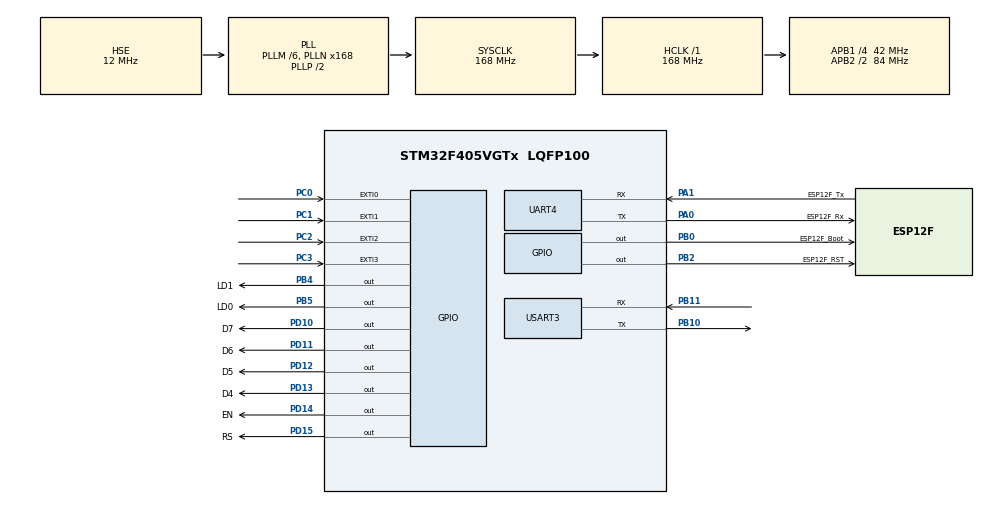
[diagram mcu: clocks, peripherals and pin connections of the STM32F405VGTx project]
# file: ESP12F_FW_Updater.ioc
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Dma.Request0=USART3_RX
Dma.Request1=UART4_TX
Dma.Request2=USART3_TX
Dma.Request3=UART4_RX
Dma.UART4_RX.3.Direction=DMA_PERIPH_TO_MEMORY
Dma.UART4_RX.3.FIFOMode=DMA_FIFOMODE_DISABLE
Dma.UART4_RX.3.Instance=DMA1_Stream2
Dma.UART4_RX.3.MemDataAlignment=DMA_MDATAALIGN_BYTE
Dma.UART4_RX.3.MemInc=DMA_MINC_ENABLE
Dma.UART4_RX.3.Mode=DMA_NORMAL
Dma.UART4_RX.3.PeriphDataAlignment=DMA_PDATAALIGN_BYTE
Dma.UART4_RX.3.PeriphInc=DMA_PINC_DISABLE
Dma.UART4_RX.3.Priority=DMA_PRIORITY_HIGH
Dma.UART4_TX.1.Direction=DMA_MEMORY_TO_PERIPH
Dma.UART4_TX.1.FIFOMode=DMA_FIFOMODE_DISABLE
Dma.UART4_TX.1.Instance=DMA1_Stream4
Dma.UART4_TX.1.MemDataAlignment=DMA_MDATAALIGN_BYTE
Dma.UART4_TX.1.MemInc=DMA_MINC_ENABLE
Dma.UART4_TX.1.Mode=DMA_NORMAL
Dma.UART4_TX.1.PeriphDataAlignment=DMA_PDATAALIGN_BYTE
Dma.UART4_TX.1.PeriphInc=DMA_PINC_DISABLE
Dma.UART4_TX.1.Priority=DMA_PRIORITY_HIGH
Dma.USART3_RX.0.Direction=DMA_PERIPH_TO_MEMORY
Dma.USART3_RX.0.FIFOMode=DMA_FIFOMODE_DISABLE
Dma.USART3_RX.0.Instance=DMA1_Stream1
Dma.USART3_RX.0.MemDataAlignment=DMA_MDATAALIGN_BYTE
Dma.USART3_RX.0.MemInc=DMA_MINC_ENABLE
Dma.USART3_RX.0.Mode=DMA_NORMAL
Dma.USART3_RX.0.PeriphDataAlignment=DMA_PDATAALIGN_BYTE
Dma.USART3_RX.0.PeriphInc=DMA_PINC_DISABLE
Dma.USART3_RX.0.Priority=DMA_PRIORITY_VERY_HIGH
Dma.USART3_TX.2.Direction=DMA_MEMORY_TO_PERIPH
Dma.USART3_TX.2.FIFOMode=DMA_FIFOMODE_DISABLE
Dma.USART3_TX.2.Instance=DMA1_Stream3
Dma.USART3_TX.2.MemDataAlignment=DMA_MDATAALIGN_BYTE
Dma.USART3_TX.2.MemInc=DMA_MINC_ENABLE
Dma.USART3_TX.2.Mode=DMA_NORMAL
Dma.USART3_TX.2.PeriphDataAlignment=DMA_PDATAALIGN_BYTE
Dma.USART3_TX.2.PeriphInc=DMA_PINC_DISABLE
Dma.USART3_TX.2.Priority=DMA_PRIORITY_MEDIUM
Mcu.Family=STM32F4
Mcu.Name=STM32F405VGTx
Mcu.Package=LQFP100
NVIC.DMA1_Stream1_IRQn=true\:0\:0\:false\:false\:true\:false\:true\:true
NVIC.DMA1_Stream2_IRQn=true\:0\:0\:false\:false\:true\:false\:true\:true
NVIC.DMA1_Stream3_IRQn=true\:0\:0\:false\:false\:true\:false\:true\:true
NVIC.DMA1_Stream4_IRQn=true\:0\:0\:false\:false\:true\:false\:true\:true
NVIC.EXTI0_IRQn=true\:0\:0\:false\:true\:true\:1\:true\:true\:true
NVIC.EXTI1_IRQn=true\:0\:0\:false\:true\:true\:2\:true\:true\:true
NVIC.EXTI2_IRQn=true\:0\:0\:false\:true\:true\:3\:true\:true\:true
NVIC.EXTI3_IRQn=true\:0\:0\:false\:true\:true\:4\:true\:true\:true
NVIC.PriorityGroup=NVIC_PRIORITYGROUP_4
NVIC.UART4_IRQn=true\:0\:0\:false\:false\:true\:true\:true\:true
NVIC.USART3_IRQn=true\:0\:0\:false\:false\:true\:true\:true\:true
PA0-WKUP.GPIO_Label=ESP12F_Rx
PA0-WKUP.Mode=Asynchronous
PA0-WKUP.Signal=UART4_TX
PA1.GPIO_Label=ESP12F_Tx
PA1.Mode=Asynchronous
PA1.Signal=UART4_RX
PB0.GPIO_Label=ESP12F_Boot
PB0.PinState=GPIO_PIN_SET
PB0.Signal=GPIO_Output
PB10.Mode=Asynchronous
PB10.Signal=USART3_TX
PB11.Mode=Asynchronous
PB11.Signal=USART3_RX
PB2.GPIO_Label=ESP12F_RST
PB2.PinState=GPIO_PIN_SET
PB2.Signal=GPIO_Output
PB4.GPIO_Label=LD1
PB4.Signal=GPIO_Output
PB5.GPIO_Label=LD0
PB5.Signal=GPIO_Output
PC0.GPIO_ModeDefaultEXTI=GPIO_MODE_IT_FALLING
PC0.Signal=GPXTI0
PC1.GPIO_ModeDefaultEXTI=GPIO_MODE_IT_FALLING
PC1.Signal=GPXTI1
PC2.GPIO_ModeDefaultEXTI=GPIO_MODE_IT_FALLING
PC2.Signal=GPXTI2
PC3.Signal=GPXTI3
PD10.GPIO_Label=D7
PD10.Signal=GPIO_Output
PD11.GPIO_Label=D6
PD11.Signal=GPIO_Output
PD12.GPIO_Label=D5
PD12.Signal=GPIO_Output
PD13.GPIO_Label=D4
PD13.Signal=GPIO_Output
PD14.GPIO_Label=EN
PD14.Signal=GPIO_Output
PD15.GPIO_Label=RS
PD15.Signal=GPIO_Output
PH0-OSC_IN.Mode=HSE-External-Oscillator
PH0-OSC_IN.Signal=RCC_OSC_IN
PH1-OSC_OUT.Mode=HSE-External-Oscillator
PH1-OSC_OUT.Signal=RCC_OSC_OUT
ProjectManager.HeapSize=0x200
ProjectManager.StackSize=0x400
ProjectManager.TargetToolchain=STM32CubeIDE
RCC.48MHZClocksFreq_Value=48000000
RCC.AHBFreq_Value=168000000
RCC.APB1CLKDivider=RCC_HCLK_DIV4
RCC.APB1Freq_Value=42000000
RCC.APB1TimFreq_Value=84000000
RCC.APB2CLKDivider=RCC_HCLK_DIV2
RCC.APB2Freq_Value=84000000
RCC.APB2TimFreq_Value=168000000
RCC.CortexFreq_Value=168000000
RCC.HCLKFreq_Value=168000000
RCC.HSE_VALUE=12000000
RCC.HSI_VALUE=16000000
RCC.LSE_VALUE=32768
RCC.PLLM=6
RCC.PLLN=168
RCC.PLLQ=7
RCC.PLLSourceVirtual=RCC_PLLSOURCE_HSE
RCC.SYSCLKFreq_VALUE=168000000
RCC.SYSCLKSource=RCC_SYSCLKSOURCE_PLLCLK
RCC.VCOOutputFreq_Value=336000000
UART4.VirtualMode=Asynchronous
USART3.VirtualMode=VM_ASYNC
board=custom

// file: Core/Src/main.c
/* USER CODE BEGIN Header */
/**
  ******************************************************************************
  * @file           : main.c
  * @brief          : Main program body
  ******************************************************************************
  * @attention
  *
  * Copyright (c) 2026 STMicroelectronics.
  * All rights reserved.
  *
  * This software is licensed under terms that can be found in the LICENSE file
  * in the root directory of this software component.
  * If no LICENSE file comes with this software, it is provided AS-IS.
  *
  ******************************************************************************
  */
/* USER CODE END Header */
#include "main.h"
#include "dma.h"
#include "usart.h"
#include "gpio.h"

/* USER CODE BEGIN Includes */
#include <stdint.h>
#include <string.h>

/* USER CODE END Includes */

/* USER CODE BEGIN PV */
#define RX_SZ   (512u)
#define TX_SZ   (512u)   /* RX_SZ 이상 권장 */

static uint8_t pc_rx_buf[2][RX_SZ];     /* USART3 RX ping-pong */
static uint8_t esp_rx_buf[2][RX_SZ];    /* UART4  RX ping-pong */
static volatile uint8_t pc_rx_sel  = 0u;
static volatile uint8_t esp_rx_sel = 0u;

/* PC->ESP (UART4 TX) : tx buffer 2개 + pending 1개 */
static uint8_t pc2esp_tx_buf[2][TX_SZ];
static volatile uint8_t  pc2esp_busy = 0u;
static volatile uint8_t  pc2esp_active_id = 0u;
static volatile uint8_t  pc2esp_pending = 0u;
static volatile uint8_t  pc2esp_pending_id = 0u;
static volatile uint16_t pc2esp_pending_len = 0u;

/* ESP->PC (USART3 TX) : tx buffer 2개 + pending 1개 */
static uint8_t esp2pc_tx_buf[2][TX_SZ];
static volatile uint8_t  esp2pc_busy = 0u;
static volatile uint8_t  esp2pc_active_id = 0u;
static volatile uint8_t  esp2pc_pending = 0u;
static volatile uint8_t  esp2pc_pending_id = 0u;
static volatile uint16_t esp2pc_pending_len = 0u;

/* USER CODE END PV */

void SystemClock_Config(void);
static void MX_NVIC_Init(void);
/* USER CODE BEGIN PFP */
static void Bridge_Start(void);
static void ESP_EnterBootloader(void);

/* USER CODE END PFP */

/* USER CODE BEGIN 0 */
static void start_rx_usart3(void)
{
    (void)HAL_UARTEx_ReceiveToIdle_DMA(&huart3, pc_rx_buf[pc_rx_sel], RX_SZ);
    if (huart3.hdmarx) __HAL_DMA_DISABLE_IT(huart3.hdmarx, DMA_IT_HT);
}

static void start_rx_uart4(void)
{
    (void)HAL_UARTEx_ReceiveToIdle_DMA(&huart4, esp_rx_buf[esp_rx_sel], RX_SZ);
    if (huart4.hdmarx) __HAL_DMA_DISABLE_IT(huart4.hdmarx, DMA_IT_HT);
}

/* ESP8266 Download Mode: GPIO0=LOW, RST 펄스 */
static void ESP_EnterBootloader(void)
{

	if(HAL_GPIO_ReadPin(GPIOC, GPIO_PIN_0) == GPIO_PIN_RESET) {
		/* GPIO0(BOOT)=LOW */
		HAL_GPIO_WritePin(ESP12F_Boot_GPIO_Port, ESP12F_Boot_Pin, GPIO_PIN_SET);
		HAL_GPIO_WritePin(LD0_GPIO_Port, LD0_Pin, GPIO_PIN_SET);
	}
	else {
		HAL_GPIO_WritePin(ESP12F_Boot_GPIO_Port, ESP12F_Boot_Pin, GPIO_PIN_RESET);
		HAL_GPIO_WritePin(LD0_GPIO_Port, LD0_Pin, GPIO_PIN_RESET);
	}

    /* RST: LOW->HIGH */
    HAL_GPIO_WritePin(ESP12F_RST_GPIO_Port, ESP12F_RST_Pin, GPIO_PIN_RESET);
    HAL_Delay(500);
    HAL_GPIO_WritePin(ESP12F_RST_GPIO_Port, ESP12F_RST_Pin, GPIO_PIN_SET);
    HAL_Delay(100);
}

static void Bridge_Start(void)
{
    pc_rx_sel  = 0u;
    esp_rx_sel = 0u;

    pc2esp_busy = 0u; pc2esp_pending = 0u;
    esp2pc_busy = 0u; esp2pc_pending = 0u;

    start_rx_usart3();
    start_rx_uart4();
}

/* RX 이벤트(Idle 또는 버퍼 full) */
void HAL_UARTEx_RxEventCallback(UART_HandleTypeDef *huart, uint16_t Size)
{
    if (Size == 0u) return;

    if (huart->Instance == USART3) {
        /* --- PC(USART3) -> ESP(UART4) --- */
        uint8_t used_rx = pc_rx_sel;
        pc_rx_sel ^= 1u;
        start_rx_usart3(); /* 먼저 다음 RX 걸기 (다른 버퍼로) */

        if (Size > TX_SZ) Size = TX_SZ;

        if (!pc2esp_busy) {
            /* TX idle: active로 시작 */
            uint8_t txid = 0u;
            (void)memcpy(pc2esp_tx_buf[txid], pc_rx_buf[used_rx], Size);
            pc2esp_busy = 1u;
            pc2esp_active_id = txid;
            (void)HAL_UART_Transmit_DMA(&huart4, pc2esp_tx_buf[txid], Size);
        } else if (!pc2esp_pending) {
            /* TX busy: 반대 버퍼에 1개만 대기 */
            uint8_t txid = (uint8_t)(pc2esp_active_id ^ 1u);
            (void)memcpy(pc2esp_tx_buf[txid], pc_rx_buf[used_rx], Size);
            pc2esp_pending = 1u;
            pc2esp_pending_id = txid;
            pc2esp_pending_len = Size;
        } else {
            /* pending까지 차면 드롭(여기 오면 TX_SZ/RX_SZ 키우거나 baud 낮추면 됨) */
        }
    }
    else if (huart->Instance == UART4) {
        /* --- ESP(UART4) -> PC(USART3) --- */
        uint8_t used_rx = esp_rx_sel;
        esp_rx_sel ^= 1u;
        start_rx_uart4(); /* 다음 RX */

        if (Size > TX_SZ) Size = TX_SZ;

        if (!esp2pc_busy) {
            uint8_t txid = 0u;
            (void)memcpy(esp2pc_tx_buf[txid], esp_rx_buf[used_rx], Size);
            esp2pc_busy = 1u;
            esp2pc_active_id = txid;
            (void)HAL_UART_Transmit_DMA(&huart3, esp2pc_tx_buf[txid], Size);
        } else if (!esp2pc_pending) {
            uint8_t txid = (uint8_t)(esp2pc_active_id ^ 1u);
            (void)memcpy(esp2pc_tx_buf[txid], esp_rx_buf[used_rx], Size);
            esp2pc_pending = 1u;
            esp2pc_pending_id = txid;
            esp2pc_pending_len = Size;
        } else {
            /* drop */
        }
    }
}

/* TX 완료 콜백: pending 있으면 이어서 전송 */
void HAL_UART_TxCpltCallback(UART_HandleTypeDef *huart)
{
    if (huart->Instance == UART4) {
        /* PC->ESP */
        if (pc2esp_pending) {
            pc2esp_pending = 0u;
            pc2esp_active_id = pc2esp_pending_id;
            (void)HAL_UART_Transmit_DMA(&huart4,
                                       pc2esp_tx_buf[pc2esp_active_id],
                                       pc2esp_pending_len);
        } else {
            pc2esp_busy = 0u;
        }
    }
    else if (huart->Instance == USART3) {
        /* ESP->PC */
        if (esp2pc_pending) {
            esp2pc_pending = 0u;
            esp2pc_active_id = esp2pc_pending_id;
            (void)HAL_UART_Transmit_DMA(&huart3,
                                       esp2pc_tx_buf[esp2pc_active_id],
                                       esp2pc_pending_len);
        } else {
            esp2pc_busy = 0u;
        }
    }
}

/* UART 에러 시 RX 재시작 */
void HAL_UART_ErrorCallback(UART_HandleTypeDef *huart)
{
    if (huart->Instance == USART3) {
        start_rx_usart3();
    } else if (huart->Instance == UART4) {
        start_rx_uart4();
    }
}

/* USER CODE END 0 */

int main(void)
{

  /* MCU Configuration--------------------------------------------------------*/

  /* Reset of all peripherals, Initializes the Flash interface and the Systick. */
  HAL_Init();

  /* Configure the system clock */
  SystemClock_Config();

  /* Initialize all configured peripherals */
  MX_GPIO_Init();
  MX_DMA_Init();
  MX_USART3_UART_Init();
  MX_UART4_Init();

  /* Initialize interrupts */
  MX_NVIC_Init();
  /* USER CODE BEGIN 2 */
  ESP_EnterBootloader();  /* ESP를 항상 Download Mode로 넣고 시작 */
  Bridge_Start();

  /* USER CODE END 2 */

  /* Infinite loop */
  while (1)
  {

  }
}

void SystemClock_Config(void)
{
  RCC_OscInitTypeDef RCC_OscInitStruct = {0};
  RCC_ClkInitTypeDef RCC_ClkInitStruct = {0};

  /** Configure the main internal regulator output voltage
  */
  __HAL_RCC_PWR_CLK_ENABLE();
  __HAL_PWR_VOLTAGESCALING_CONFIG(PWR_REGULATOR_VOLTAGE_SCALE1);

  /** Initializes the RCC Oscillators according to the specified parameters
  * in the RCC_OscInitTypeDef structure.
  */
  RCC_OscInitStruct.OscillatorType = RCC_OSCILLATORTYPE_HSE;
  RCC_OscInitStruct.HSEState = RCC_HSE_ON;
  RCC_OscInitStruct.PLL.PLLState = RCC_PLL_ON;
  RCC_OscInitStruct.PLL.PLLSource = RCC_PLLSOURCE_HSE;
  RCC_OscInitStruct.PLL.PLLM = 6;
  RCC_OscInitStruct.PLL.PLLN = 168;
  RCC_OscInitStruct.PLL.PLLP = RCC_PLLP_DIV2;
  RCC_OscInitStruct.PLL.PLLQ = 7;
  if (HAL_RCC_OscConfig(&RCC_OscInitStruct) != HAL_OK)
  {
    Error_Handler();
  }

  /** Initializes the CPU, AHB and APB buses clocks
  */
  RCC_ClkInitStruct.ClockType = RCC_CLOCKTYPE_HCLK|RCC_CLOCKTYPE_SYSCLK
                              |RCC_CLOCKTYPE_PCLK1|RCC_CLOCKTYPE_PCLK2;
  RCC_ClkInitStruct.SYSCLKSource = RCC_SYSCLKSOURCE_PLLCLK;
  RCC_ClkInitStruct.AHBCLKDivider = RCC_SYSCLK_DIV1;
  RCC_ClkInitStruct.APB1CLKDivider = RCC_HCLK_DIV4;
  RCC_ClkInitStruct.APB2CLKDivider = RCC_HCLK_DIV2;

  if (HAL_RCC_ClockConfig(&RCC_ClkInitStruct, FLASH_LATENCY_5) != HAL_OK)
  {
    Error_Handler();
  }
}

/**
  * @brief NVIC Configuration.
  * @retval None
  */
static void MX_NVIC_Init(void)
{
  /* EXTI0_IRQn interrupt configuration */
  HAL_NVIC_SetPriority(EXTI0_IRQn, 0, 0);
  HAL_NVIC_EnableIRQ(EXTI0_IRQn);
  /* EXTI1_IRQn interrupt configuration */
  HAL_NVIC_SetPriority(EXTI1_IRQn, 0, 0);
  HAL_NVIC_EnableIRQ(EXTI1_IRQn);
  /* EXTI2_IRQn interrupt configuration */
  HAL_NVIC_SetPriority(EXTI2_IRQn, 0, 0);
  HAL_NVIC_EnableIRQ(EXTI2_IRQn);
  /* EXTI3_IRQn interrupt configuration */
  HAL_NVIC_SetPriority(EXTI3_IRQn, 0, 0);
  HAL_NVIC_EnableIRQ(EXTI3_IRQn);
}

void Error_Handler(void)
{
  __disable_irq();
  while (1)
  {
  }
}
